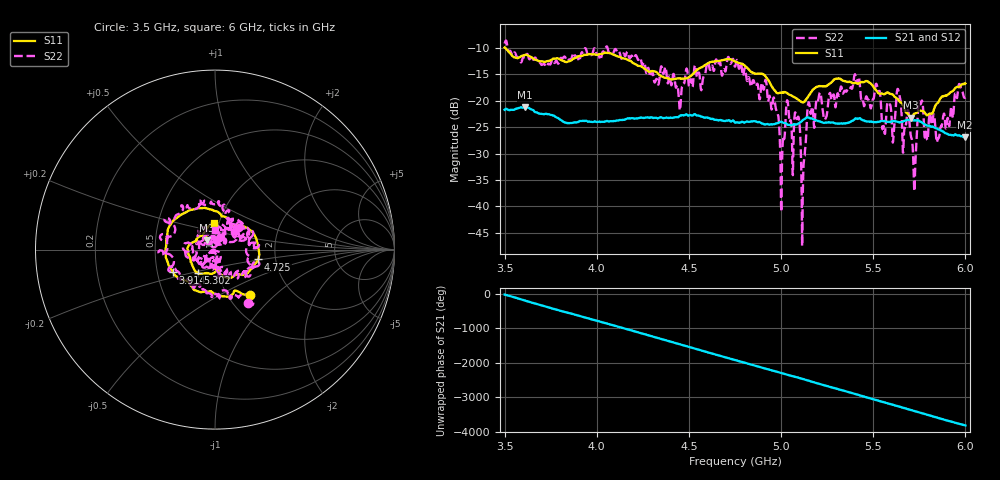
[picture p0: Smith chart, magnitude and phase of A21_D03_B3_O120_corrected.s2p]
! Created with skrf 1.9.0 (http://scikit-rf.org).
# Hz S RI R 50.0
!freq ReS11 ImS11 ReS21 ImS21 ReS12 ImS12 ReS22 ImS22
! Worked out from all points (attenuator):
!   1601 points, 3.5 GHz to 6 GHz, reference 50 ohm
!   highest |S21| = -21.23 dB at 3.611 GHz (marker M1); lowest = -26.9 dB at 5.997 GHz (marker M2)
!   lowest |S11| = -23.2 dB at 5.705 GHz (marker M3), VSWR 1.15, Z = 45.3 + j4.65 ohm
!   |S11| at or under -10 dB: 3.504 GHz to end of sweep
!   |S22| runs from -47.5 to -8.6 dB; largest |S21 - S12| = 0.00099
!   S11 on the Smith chart (normalised r, x): 3.5 GHz: 1.26, -0.71; 3.914 GHz: 0.61, -0.17; 4.725 GHz: 1.62, -0.19; 5.302 GHz: 0.80, -0.21; 6 GHz: 0.95, +0.28
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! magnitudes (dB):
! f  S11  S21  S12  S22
! 3.5 GHz  -9.9  -21.7  -21.7  -9.2
! 3.611 GHz  -11.3  -21.2  -21.2  -11.8
! 3.914 GHz  -11.5  -23.8  -23.8  -11.2
! 3.917 GHz  -11.5  -23.8  -23.8  -10.9
! 4.334 GHz  -14.9  -23.3  -23.2  -16.9
! 4.725 GHz  -12.1  -23.9  -23.8  -13.0
! 4.75 GHz  -12.6  -24.1  -24.0  -13.5
! 4.967 GHz  -18.1  -24.4  -24.3  -20.5
! 5.005 GHz  -18.4  -24.0  -24.0  -32.2
! 5.033 GHz  -18.5  -24.5  -24.4  -19.9
! 5.088 GHz  -19.6  -24.4  -24.4  -23.4
! 5.119 GHz  -20.3  -23.6  -23.6  -35.7
! 5.145 GHz  -19.3  -23.1  -23.1  -20.9
! 5.167 GHz  -18.1  -23.4  -23.3  -21.3
! 5.302 GHz  -15.8  -24.3  -24.3  -19.5
! 5.584 GHz  -18.5  -24.0  -24.0  -20.5
! 5.705 GHz  -23.2  -23.7  -23.7  -26.7
! 5.723 GHz  -22.4  -23.7  -23.6  -37.1
! 5.756 GHz  -21.9  -24.0  -23.9  -20.7
! 5.85 GHz  -20.4  -25.4  -25.3  -27.2
! 5.997 GHz  -16.8  -26.9  -26.8  -19.4
! 6 GHz  -16.7  -26.9  -26.8  -19.4
